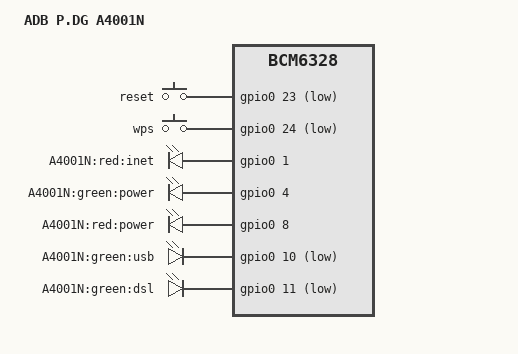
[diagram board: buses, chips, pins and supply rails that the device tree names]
/dts-v1/;

/include/ "bcm6328.dtsi"

/ {
	model = "ADB P.DG A4001N";
	compatible = "adb,a4001n", "brcm,bcm6328";

	gpio-keys-polled {
		compatible = "gpio-keys-polled";
		#address-cells = <1>;
		#size-cells = <0>;
		poll-interval = <20>;
		debounce-interval = <60>;

		reset {
			label = "reset";
			gpios = <&gpio0 23 1>;
			linux,code = <0x198>;
		};
		wps {
			label = "wps";
			gpios = <&gpio0 24 1>;
			linux,code = <0x211>;
		};
	};

	gpio-leds {
		compatible = "gpio-leds";

		inet_red {
			label = "A4001N:red:inet";
			gpios = <&gpio0 1 0>;
		};
		power_green {
			label = "A4001N:green:power";
			gpios = <&gpio0 4 0>;
			default-state = "on";
		};
		power_red {
			label = "A4001N:red:power";
			gpios = <&gpio0 8 0>;
		};
		usb_green {
			label = "A4001N:green:usb";
			gpios = <&gpio0 10 1>;
		};
		dsl_green {
			label = "A4001N:green:dsl";
			gpios = <&gpio0 11 1>;
		};
	};
};
